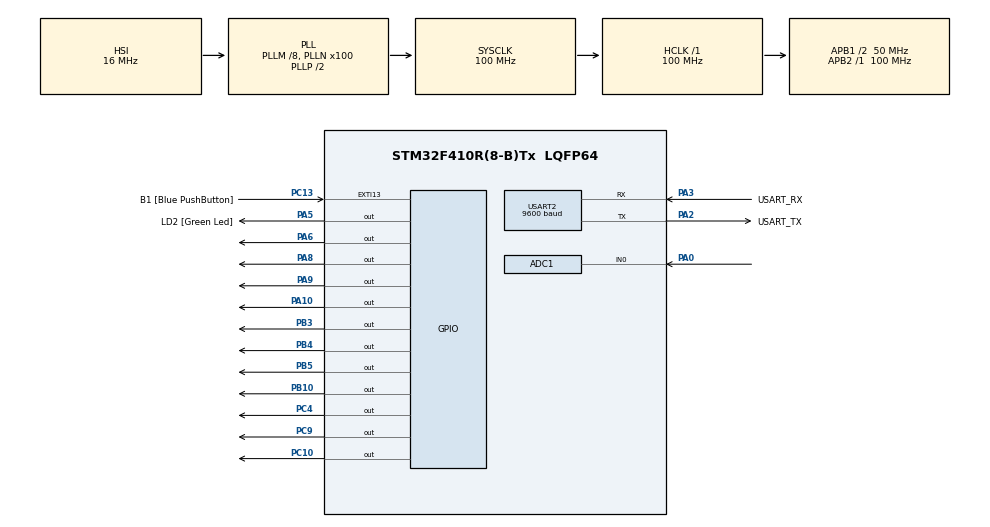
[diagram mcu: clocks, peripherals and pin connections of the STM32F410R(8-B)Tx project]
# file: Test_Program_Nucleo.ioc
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ADC1.Channel-20\#ChannelRegularConversion=ADC_CHANNEL_0
ADC1.ClockPrescaler=ADC_CLOCK_SYNC_PCLK_DIV4
ADC1.ContinuousConvMode=DISABLE
ADC1.DMAContinuousRequests=DISABLE
ADC1.DataAlign=ADC_DATAALIGN_RIGHT
ADC1.DiscontinuousConvMode=DISABLE
ADC1.EOCSelection=ADC_EOC_SINGLE_CONV
ADC1.EnableAnalogWatchDog=false
ADC1.ExternalTrigConv=ADC_SOFTWARE_START
ADC1.ExternalTrigConvEdge=ADC_EXTERNALTRIGCONVEDGE_NONE
ADC1.InjNumberOfConversion=0
ADC1.NbrOfConversion=1
ADC1.NbrOfConversionFlag=1
ADC1.Rank-20\#ChannelRegularConversion=1
ADC1.Resolution=ADC_RESOLUTION_10B
ADC1.SamplingTime-20\#ChannelRegularConversion=ADC_SAMPLETIME_3CYCLES
ADC1.ScanConvMode=DISABLE
ADC1.master=1
FREERTOS.Tasks01=defaultTask,0,128,StartDefaultTask,Default,NULL,Dynamic,NULL,NULL;Stepper1_Task,0,128,Stepper1_Task_function,Default,NULL,Dynamic,NULL,NULL;Stepper2_Task,0,128,Stepper2_Task_function,Default,NULL,Dynamic,NULL,NULL;Stepper3_Task,-3,128,Stepper3_Task_function,Default,NULL,Dynamic,NULL,NULL;Stepper4_Task,-3,128,Stepper4_Task_function,Default,NULL,Dynamic,NULL,NULL;Main_Arm_Task,0,128,Main_Arm_Task_function,Default,NULL,Dynamic,NULL,NULL
Mcu.Family=STM32F4
Mcu.Name=STM32F410R(8-B)Tx
Mcu.Package=LQFP64
NVIC.PriorityGroup=NVIC_PRIORITYGROUP_4
NVIC.TIM1_UP_IRQn=true\:0\:0\:false\:false\:true\:false\:false
NVIC.TIM6_DAC_IRQn=true\:5\:0\:false\:false\:true\:true\:true
NVIC.TimeBase=TIM1_UP_IRQn
NVIC.TimeBaseIP=TIM1
NVIC.USART2_IRQn=true\:5\:0\:false\:false\:true\:true\:true
PA0-WKUP.Signal=ADCx_IN0
PA10.Signal=GPIO_Output
PA13.GPIO_Label=TMS
PA13.Mode=Serial_Wire
PA13.Signal=SYS_JTMS-SWDIO
PA14.GPIO_Label=TCK
PA14.Mode=Serial_Wire
PA14.Signal=SYS_JTCK-SWCLK
PA2.GPIO_Label=USART_TX
PA2.Mode=Asynchronous
PA2.Signal=USART2_TX
PA3.GPIO_Label=USART_RX
PA3.Mode=Asynchronous
PA3.Signal=USART2_RX
PA5.GPIO_Label=LD2 [Green Led]
PA5.Signal=GPIO_Output
PA6.Signal=GPIO_Output
PA8.Signal=GPIO_Output
PA9.Signal=GPIO_Output
PB10.Signal=GPIO_Output
PB3.Signal=GPIO_Output
PB4.Signal=GPIO_Output
PB5.Signal=GPIO_Output
PC10.Signal=GPIO_Output
PC13-ANTI_TAMP.GPIO_Label=B1 [Blue PushButton]
PC13-ANTI_TAMP.GPIO_ModeDefaultEXTI=GPIO_MODE_IT_FALLING
PC13-ANTI_TAMP.Signal=GPXTI13
PC14-OSC32_IN.Mode=LSE-External-Oscillator
PC14-OSC32_IN.Signal=RCC_OSC32_IN
PC15-OSC32_OUT.Mode=LSE-External-Oscillator
PC15-OSC32_OUT.Signal=RCC_OSC32_OUT
PC4.Signal=GPIO_Output
PC9.Signal=GPIO_Output
PH0\ -\ OSC_IN.Mode=HSE-External-Clock-Source
PH0\ -\ OSC_IN.Signal=RCC_OSC_IN
PH1\ -\ OSC_OUT.Mode=HSE-External-Clock-Source
PH1\ -\ OSC_OUT.Signal=RCC_OSC_OUT
ProjectManager.HeapSize=0x200
ProjectManager.StackSize=0x400
ProjectManager.TargetToolchain=MDK-ARM V5
RCC.48MHZClocksFreq_Value=50000000
RCC.AHBFreq_Value=100000000
RCC.APB1CLKDivider=RCC_HCLK_DIV2
RCC.APB1Freq_Value=50000000
RCC.APB1TimFreq_Value=100000000
RCC.APB2Freq_Value=100000000
RCC.APB2TimFreq_Value=100000000
RCC.CortexFreq_Value=100000000
RCC.FLatency-AdvancedSettings=FLASH_LATENCY_3
RCC.HCLKFreq_Value=100000000
RCC.HSE_VALUE=8000000
RCC.HSI_VALUE=16000000
RCC.PLLM=8
RCC.PLLN=100
RCC.SYSCLKFreq_VALUE=100000000
RCC.SYSCLKSource=RCC_SYSCLKSOURCE_PLLCLK
RCC.VCOOutputFreq_Value=200000000
SH.ADCx_IN0.0=ADC1_IN0,IN0
TIM6.Period=2
TIM6.Prescaler=2
USART2.BaudRate=9600
USART2.Mode=MODE_TX_RX
USART2.VirtualMode=VM_ASYNC
VP_FREERTOS_VS_ENABLE.Mode=Enabled
VP_SYS_VS_tim1.Mode=TIM1
VP_TIM6_VS_ClockSourceINT.Mode=Enable_Timer
board=NUCLEO-F410RB

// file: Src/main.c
/**
  ******************************************************************************
  * @file           : main.c
  * @brief          : Main program body
  ******************************************************************************
  * This notice applies to any and all portions of this file
  * that are not between comment pairs USER CODE BEGIN and
  * USER CODE END. Other portions of this file, whether
  * inserted by the user or by software development tools
  * are owned by their respective copyright owners.
  *
  * Copyright (c) 2020 STMicroelectronics International N.V.
  * All rights reserved.
  *
  * Redistribution and use in source and binary forms, with or without
  * modification, are permitted, provided that the following conditions are met:
  *
  * 1. Redistribution of source code must retain the above copyright notice,
  *    this list of conditions and the following disclaimer.
  * 2. Redistributions in binary form must reproduce the above copyright notice,
  *    this list of conditions and the following disclaimer in the documentation
  *    and/or other materials provided with the distribution.
  * 3. Neither the name of STMicroelectronics nor the names of other
  *    contributors to this software may be used to endorse or promote products
  *    derived from this software without specific written permission.
  * 4. This software, including modifications and/or derivative works of this
  *    software, must execute solely and exclusively on microcontroller or
  *    microprocessor devices manufactured by or for STMicroelectronics.
  * 5. Redistribution and use of this software other than as permitted under
  *    this license is void and will automatically terminate your rights under
  *    this license.
  *
  * THIS SOFTWARE IS PROVIDED BY STMICROELECTRONICS AND CONTRIBUTORS "AS IS"
  * AND ANY EXPRESS, IMPLIED OR STATUTORY WARRANTIES, INCLUDING, BUT NOT
  * LIMITED TO, THE IMPLIED WARRANTIES OF MERCHANTABILITY, FITNESS FOR A
  * PARTICULAR PURPOSE AND NON-INFRINGEMENT OF THIRD PARTY INTELLECTUAL PROPERTY
  * RIGHTS ARE DISCLAIMED TO THE FULLEST EXTENT PERMITTED BY LAW. IN NO EVENT
  * SHALL STMICROELECTRONICS OR CONTRIBUTORS BE LIABLE FOR ANY DIRECT, INDIRECT,
  * INCIDENTAL, SPECIAL, EXEMPLARY, OR CONSEQUENTIAL DAMAGES (INCLUDING, BUT NOT
  * LIMITED TO, PROCUREMENT OF SUBSTITUTE GOODS OR SERVICES; LOSS OF USE, DATA,
  * OR PROFITS; OR BUSINESS INTERRUPTION) HOWEVER CAUSED AND ON ANY THEORY OF
  * LIABILITY, WHETHER IN CONTRACT, STRICT LIABILITY, OR TORT (INCLUDING
  * NEGLIGENCE OR OTHERWISE) ARISING IN ANY WAY OUT OF THE USE OF THIS SOFTWARE,
  * EVEN IF ADVISED OF THE POSSIBILITY OF SUCH DAMAGE.
  *
  ******************************************************************************
  */
#include "main.h"
#include "stm32f4xx_hal.h"
#include "cmsis_os.h"

/* USER CODE BEGIN Includes */

#include "math.h"
#include "string.h"
#include <stdlib.h>
#include <stdio.h>

#define PI 											3.141592653
#define STEP1_RESOLUTION  		  0.060944641
#define STEP2_RESOLUTION  		  0.055333713
#define STEP3_RESOLUTION    		0.055301333
#define X_INIT       					  132.861984
#define Y_INIT        				  0.00
#define Z_INIT        				  -25.3336658
#define SENS_SWITCH_WAIT		  	100
#define l2  		  							162.00
#define l3   		 								162.00
#define l4		  							  122.5

typedef struct{
	short x;
	short y;
	short z;
	}Color_Area;

/* USER CODE END Includes */

ADC_HandleTypeDef hadc1;

TIM_HandleTypeDef htim6;

UART_HandleTypeDef huart2;

osThreadId defaultTaskHandle;
osThreadId Stepper1_TaskHandle;
osThreadId Stepper2_TaskHandle;
osThreadId Stepper3_TaskHandle;
osThreadId Stepper4_TaskHandle;
osThreadId Main_Arm_TaskHandle;

/* USER CODE BEGIN PV */
/* Private variables ---------------------------------------------------------*/

const char SLEEPING='a';
const char TRACKING ='b';
const char SORTING='c';

float O1=0;
float O2=-35.2;
float O3=60.1;
float O4=-90;

float O1_t=0;
float O2_t=90;
float O3_t=-35;
float O4_t=-90;

char state = SLEEPING;
unsigned char Step1_done,Step2_done,Step3_done = 0;
short sens_1=1;
short sens_2=1;
short sens_3=-1;
short  x_target=0;
short  y_target=0;
short  Delayed=0;

char	PC_Data[7];
char	x_tab[3]={0};
char	y_tab[3]={0};

char color ='g';
Color_Area  Green_Area={150,195,-130};
Color_Area  Red_Area={250,195,-130};
Color_Area  Blue_Area={150,-195,-130};
Color_Area  Yellow_Area={250,-195,-130};

unsigned char Nb_Green_Stored=0;
unsigned char Nb_Red_Stored=0;
unsigned char Nb_Blue_Stored=0;
unsigned char Nb_Yellow_Stored=0;

/* USER CODE END PV */

void SystemClock_Config(void);
static void MX_GPIO_Init(void);
static void MX_USART2_UART_Init(void);
static void MX_TIM6_Init(void);
static void MX_ADC1_Init(void);
void Stepper1_Task_function(void const * argument);
void Stepper2_Task_function(void const * argument);
void Stepper3_Task_function(void const * argument);
void Main_Arm_Task_function(void const * argument);

/* USER CODE BEGIN PFP */
/* Private function prototypes -----------------------------------------------*/

int Check_Object(void);
unsigned char Steppers_Ready(void);
void Set_Joints_Angles(float xt,float yt,float zt);

/* USER CODE END PFP */

int main(void)
{

  /* MCU Configuration----------------------------------------------------------*/

  /* Reset of all peripherals, Initializes the Flash interface and the Systick. */
  HAL_Init();

  /* Configure the system clock */
  SystemClock_Config();

  /* Initialize all configured peripherals */
  MX_GPIO_Init();
  MX_USART2_UART_Init();
  MX_TIM6_Init();
  MX_ADC1_Init();
  /* USER CODE BEGIN 2 */
 	__HAL_UART_ENABLE_IT(&huart2,UART_IT_RXNE);
  /* USER CODE END 2 */

  /* Create the thread(s) */

  /* definition and creation of Stepper1_Task */
  osThreadDef(Stepper1_Task, Stepper1_Task_function, osPriorityNormal, 0, 128);
  Stepper1_TaskHandle = osThreadCreate(osThread(Stepper1_Task), NULL);

  /* definition and creation of Stepper2_Task */
  osThreadDef(Stepper2_Task, Stepper2_Task_function,osPriorityNormal, 0, 128);
  Stepper2_TaskHandle = osThreadCreate(osThread(Stepper2_Task), NULL);

  /* definition and creation of Stepper3_Task */
  osThreadDef(Stepper3_Task, Stepper3_Task_function, osPriorityNormal, 0, 128);
  Stepper3_TaskHandle = osThreadCreate(osThread(Stepper3_Task), NULL);

  /* definition and creation of Main_Arm_Task */
  osThreadDef(Main_Arm_Task, Main_Arm_Task_function, osPriorityNormal, 0, 128);
  Main_Arm_TaskHandle = osThreadCreate(osThread(Main_Arm_Task), NULL);

  /* Start scheduler */
 osKernelStart();

  /* We should never get here as control is now taken by the scheduler */

  /* Infinite loop */
  while (1)
  {

  }

}

void SystemClock_Config(void)
{

  RCC_OscInitTypeDef RCC_OscInitStruct;
  RCC_ClkInitTypeDef RCC_ClkInitStruct;

    /**Configure the main internal regulator output voltage
    */
  __HAL_RCC_PWR_CLK_ENABLE();

  __HAL_PWR_VOLTAGESCALING_CONFIG(PWR_REGULATOR_VOLTAGE_SCALE1);

    /**Initializes the CPU, AHB and APB busses clocks
    */
  RCC_OscInitStruct.OscillatorType = RCC_OSCILLATORTYPE_HSI;
  RCC_OscInitStruct.HSIState = RCC_HSI_ON;
  RCC_OscInitStruct.HSICalibrationValue = 16;
  RCC_OscInitStruct.PLL.PLLState = RCC_PLL_ON;
  RCC_OscInitStruct.PLL.PLLSource = RCC_PLLSOURCE_HSI;
  RCC_OscInitStruct.PLL.PLLM = 8;
  RCC_OscInitStruct.PLL.PLLN = 100;
  RCC_OscInitStruct.PLL.PLLP = RCC_PLLP_DIV2;
  RCC_OscInitStruct.PLL.PLLQ = 4;
  RCC_OscInitStruct.PLL.PLLR = 2;
  if (HAL_RCC_OscConfig(&RCC_OscInitStruct) != HAL_OK)
  {
    _Error_Handler(__FILE__, __LINE__);
  }

    /**Initializes the CPU, AHB and APB busses clocks
    */
  RCC_ClkInitStruct.ClockType = RCC_CLOCKTYPE_HCLK|RCC_CLOCKTYPE_SYSCLK
                              |RCC_CLOCKTYPE_PCLK1|RCC_CLOCKTYPE_PCLK2;
  RCC_ClkInitStruct.SYSCLKSource = RCC_SYSCLKSOURCE_PLLCLK;
  RCC_ClkInitStruct.AHBCLKDivider = RCC_SYSCLK_DIV1;
  RCC_ClkInitStruct.APB1CLKDivider = RCC_HCLK_DIV2;
  RCC_ClkInitStruct.APB2CLKDivider = RCC_HCLK_DIV1;

  if (HAL_RCC_ClockConfig(&RCC_ClkInitStruct, FLASH_LATENCY_3) != HAL_OK)
  {
    _Error_Handler(__FILE__, __LINE__);
  }

    /**Configure the Systick interrupt time
    */
  HAL_SYSTICK_Config(HAL_RCC_GetHCLKFreq()/1000);

    /**Configure the Systick
    */
  HAL_SYSTICK_CLKSourceConfig(SYSTICK_CLKSOURCE_HCLK);

  /* SysTick_IRQn interrupt configuration */
  HAL_NVIC_SetPriority(SysTick_IRQn, 15, 0);
}

/* ADC1 init function */
static void MX_ADC1_Init(void)
{

  ADC_ChannelConfTypeDef sConfig;

    /**Configure the global features of the ADC (Clock, Resolution, Data Alignment and number of conversion)
    */
  hadc1.Instance = ADC1;
  hadc1.Init.ClockPrescaler = ADC_CLOCK_SYNC_PCLK_DIV4;
  hadc1.Init.Resolution = ADC_RESOLUTION_10B;
  hadc1.Init.ScanConvMode = DISABLE;
  hadc1.Init.ContinuousConvMode = DISABLE;
  hadc1.Init.DiscontinuousConvMode = DISABLE;
  hadc1.Init.ExternalTrigConvEdge = ADC_EXTERNALTRIGCONVEDGE_NONE;
  hadc1.Init.ExternalTrigConv = ADC_SOFTWARE_START;
  hadc1.Init.DataAlign = ADC_DATAALIGN_RIGHT;
  hadc1.Init.NbrOfConversion = 1;
  hadc1.Init.DMAContinuousRequests = DISABLE;
  hadc1.Init.EOCSelection = ADC_EOC_SINGLE_CONV;
  if (HAL_ADC_Init(&hadc1) != HAL_OK)
  {
    _Error_Handler(__FILE__, __LINE__);
  }

    /**Configure for the selected ADC regular channel its corresponding rank in the sequencer and its sample time.
    */
  sConfig.Channel = ADC_CHANNEL_0;
  sConfig.Rank = 1;
  sConfig.SamplingTime = ADC_SAMPLETIME_3CYCLES;
  if (HAL_ADC_ConfigChannel(&hadc1, &sConfig) != HAL_OK)
  {
    _Error_Handler(__FILE__, __LINE__);
  }

}

/* TIM6 init function */
static void MX_TIM6_Init(void)
{

  TIM_MasterConfigTypeDef sMasterConfig;

  htim6.Instance = TIM6;
  htim6.Init.Prescaler = 2;
  htim6.Init.CounterMode = TIM_COUNTERMODE_UP;
  htim6.Init.Period = 2;
  if (HAL_TIM_Base_Init(&htim6) != HAL_OK)
  {
    _Error_Handler(__FILE__, __LINE__);
  }

  sMasterConfig.MasterOutputTrigger = TIM_TRGO_RESET;
  sMasterConfig.MasterSlaveMode = TIM_MASTERSLAVEMODE_DISABLE;
  if (HAL_TIMEx_MasterConfigSynchronization(&htim6, &sMasterConfig) != HAL_OK)
  {
    _Error_Handler(__FILE__, __LINE__);
  }

}

/* USART2 init function */
static void MX_USART2_UART_Init(void)
{

  huart2.Instance = USART2;
  huart2.Init.BaudRate = 9600;
  huart2.Init.WordLength = UART_WORDLENGTH_8B;
  huart2.Init.StopBits = UART_STOPBITS_1;
  huart2.Init.Parity = UART_PARITY_NONE;
  huart2.Init.Mode = UART_MODE_TX_RX;
  huart2.Init.HwFlowCtl = UART_HWCONTROL_NONE;
  huart2.Init.OverSampling = UART_OVERSAMPLING_16;
  if (HAL_UART_Init(&huart2) != HAL_OK)
  {
    _Error_Handler(__FILE__, __LINE__);
  }

}

/** Configure pins as
        * Analog
        * Input
        * Output
        * EVENT_OUT
        * EXTI
*/
static void MX_GPIO_Init(void)
{

  GPIO_InitTypeDef GPIO_InitStruct;

  /* GPIO Ports Clock Enable */
  __HAL_RCC_GPIOC_CLK_ENABLE();
  __HAL_RCC_GPIOH_CLK_ENABLE();
  __HAL_RCC_GPIOA_CLK_ENABLE();
  __HAL_RCC_GPIOB_CLK_ENABLE();

  /*Configure GPIO pin Output Level */
  HAL_GPIO_WritePin(GPIOA, LD2_Pin|GPIO_PIN_6|GPIO_PIN_8|GPIO_PIN_9
                          |GPIO_PIN_10, GPIO_PIN_RESET);

  /*Configure GPIO pin Output Level */
  HAL_GPIO_WritePin(GPIOC, GPIO_PIN_4|GPIO_PIN_9|GPIO_PIN_10, GPIO_PIN_RESET);

  /*Configure GPIO pin Output Level */
  HAL_GPIO_WritePin(GPIOB, GPIO_PIN_10|GPIO_PIN_3|GPIO_PIN_4|GPIO_PIN_5, GPIO_PIN_RESET);

  /*Configure GPIO pin : B1_Pin */
  GPIO_InitStruct.Pin = B1_Pin;
  GPIO_InitStruct.Mode = GPIO_MODE_IT_FALLING;
  GPIO_InitStruct.Pull = GPIO_NOPULL;
  HAL_GPIO_Init(B1_GPIO_Port, &GPIO_InitStruct);

  /*Configure GPIO pins : LD2_Pin PA8 PA9 */
  GPIO_InitStruct.Pin = LD2_Pin|GPIO_PIN_8|GPIO_PIN_9;
  GPIO_InitStruct.Mode = GPIO_MODE_OUTPUT_PP;
  GPIO_InitStruct.Pull = GPIO_NOPULL;
  GPIO_InitStruct.Speed = GPIO_SPEED_FREQ_LOW;
  HAL_GPIO_Init(GPIOA, &GPIO_InitStruct);

  /*Configure GPIO pins : PA6 PA10 */
  GPIO_InitStruct.Pin = GPIO_PIN_6|GPIO_PIN_10;
  GPIO_InitStruct.Mode = GPIO_MODE_OUTPUT_PP;
  GPIO_InitStruct.Pull = GPIO_PULLUP;
  GPIO_InitStruct.Speed = GPIO_SPEED_FREQ_LOW;
  HAL_GPIO_Init(GPIOA, &GPIO_InitStruct);

  /*Configure GPIO pins : PC4 PC9 PC10 */
  GPIO_InitStruct.Pin = GPIO_PIN_4|GPIO_PIN_9|GPIO_PIN_10;
  GPIO_InitStruct.Mode = GPIO_MODE_OUTPUT_PP;
  GPIO_InitStruct.Pull = GPIO_NOPULL;
  GPIO_InitStruct.Speed = GPIO_SPEED_FREQ_LOW;
  HAL_GPIO_Init(GPIOC, &GPIO_InitStruct);

  /*Configure GPIO pins : PB10 PB4 */
  GPIO_InitStruct.Pin = GPIO_PIN_10|GPIO_PIN_4;
  GPIO_InitStruct.Mode = GPIO_MODE_OUTPUT_PP;
  GPIO_InitStruct.Pull = GPIO_NOPULL;
  GPIO_InitStruct.Speed = GPIO_SPEED_FREQ_LOW;
  HAL_GPIO_Init(GPIOB, &GPIO_InitStruct);

  /*Configure GPIO pins : PB3 PB5 */
  GPIO_InitStruct.Pin = GPIO_PIN_3|GPIO_PIN_5;
  GPIO_InitStruct.Mode = GPIO_MODE_OUTPUT_PP;
  GPIO_InitStruct.Pull = GPIO_PULLUP;
  GPIO_InitStruct.Speed = GPIO_SPEED_FREQ_LOW;
  HAL_GPIO_Init(GPIOB, &GPIO_InitStruct);

}

/* USER CODE BEGIN 4 */

int sign(float x){
	return (x > 0) - (x < 0);
}

float rad_to_deg(double rad){
				return(rad*360/(2*PI));
}

int Check_Object(){
	int  adc=0;
  for(int i=0;i<100;i++){
    	HAL_ADC_Start(&hadc1);
		  adc+=HAL_ADC_GetValue(&hadc1);
		  }
		 adc/=100;
		  return (adc<100);
}

void  Set_Joints_Angles(float xt,float yt , float zt){

	float a=sqrt(pow(xt,2)+pow(yt,2));
	float sphere_radius=sqrt(a*a+pow((zt+l4),2));
	float alpha=(a*a+pow((zt+l4),2)+pow(l3,2)-pow(l2,2))/(2*l3);
	float beta=atan((zt+l4)/a);

	if(sphere_radius<=324){

		if(xt==0) O1_t=PI/2*sign(yt); else  O1_t=atan(yt/xt);
		O2_t=acos(alpha/sphere_radius)+beta;
		O3_t=acos((a-l3*cos(O2_t))/l2)*sign(zt);

		O1_t=rad_to_deg(O1_t);
		O2_t=rad_to_deg(O2_t);
		O3_t=rad_to_deg(O3_t);
		O4_t=-90.00;

		Step1_done=0; Step2_done=0; Step3_done=0;
	}
}

unsigned char Steppers_Ready(){
	return(Step1_done && Step2_done && Step3_done);
}

/* USER CODE END 4 */

/* Stepper1_Task_function function */
void Stepper1_Task_function(void const * argument)
{
  /* USER CODE BEGIN Stepper1_Task_function */
  /* Infinite loop */
  for(;;)
  {
		if(fabs(O1_t-O1)>(STEP1_RESOLUTION+0.01)){
				if((O1<O1_t)&&(sens_1==-1)){osDelay(SENS_SWITCH_WAIT); sens_1= 1; }
				if((O1>O1_t)&&(sens_1==1)){osDelay(SENS_SWITCH_WAIT);  sens_1= -1;}

				HAL_GPIO_WritePin(GPIOB,GPIO_PIN_4,sens_1-1);

				HAL_GPIO_WritePin(GPIOA,GPIO_PIN_10,1);
				osDelay(1);
				HAL_GPIO_WritePin(GPIOA,GPIO_PIN_10,0);
				osDelay(1);

				O1+=(STEP1_RESOLUTION*sens_1);
     }
		else{
			Step1_done=1;
		  osDelay(1);
		}
	}
  /* USER CODE END Stepper1_Task_function */
}

/* Stepper2_Task_function function */
void Stepper2_Task_function(void const * argument)
{
  /* USER CODE BEGIN Stepper2_Task_function */
  /* Infinite loop */
  for(;;)
  {
    	if(fabs(O2_t-O2)>(STEP2_RESOLUTION+0.01)){
					if((O2>O2_t)&&(sens_2==1)){	 osDelay(SENS_SWITCH_WAIT); sens_2= -1;}
					if((O2<O2_t)&&(sens_2==-1)){ osDelay(SENS_SWITCH_WAIT);  sens_2= 1;}

					HAL_GPIO_WritePin(GPIOA,GPIO_PIN_8,sens_2-1);

					HAL_GPIO_WritePin(GPIOB,GPIO_PIN_5,1);
					osDelay(1);
					HAL_GPIO_WritePin(GPIOB,GPIO_PIN_5,0);
					osDelay(1);

					O2+=(STEP2_RESOLUTION*sens_2);
     }
		else{
			Step2_done=1;
			osDelay(1);
		 }
  }
  /* USER CODE END Stepper2_Task_function */
}

/* Stepper3_Task_function function */
void Stepper3_Task_function(void const * argument)
{
  /* USER CODE BEGIN Stepper3_Task_function */
  /* Infinite loop */
  for(;;)
  {
    	if(fabs(O3_t-O3)>(STEP3_RESOLUTION+0.01)){
					if((O3<O3_t)&&(sens_3==-1)){osDelay(SENS_SWITCH_WAIT); sens_3= 1;}
					if((O3>O3_t)&&(sens_3==1)){osDelay(SENS_SWITCH_WAIT);  sens_3=-1;}

					HAL_GPIO_WritePin(GPIOA,GPIO_PIN_5,sens_3+1);

					HAL_GPIO_WritePin(GPIOA,GPIO_PIN_6,1);
					osDelay(1);
					HAL_GPIO_WritePin(GPIOA,GPIO_PIN_6,0);
					osDelay(1);

					O3+=(STEP3_RESOLUTION*sens_3);
     }
		else{
			Step3_done=1;
	    osDelay(1);
		}
  }
  /* USER CODE END Stepper3_Task_function */
}

/* Main_Arm_Task_function function */
void Main_Arm_Task_function(void const * argument)
{
  /* USER CODE BEGIN Main_Arm_Task_function */

  /* Infinite loop */
  for(;;)
  {
	   if(Steppers_Ready() && state==TRACKING ){
			 if(Check_Object()){
					state=SORTING;
			  	HAL_GPIO_WritePin(GPIOC,GPIO_PIN_4,1);     // pump ON
					Set_Joints_Angles(x_target,y_target,-178);
					while(!Steppers_Ready());
					Set_Joints_Angles(x_target,y_target,-116);
					while(!Steppers_Ready());
					switch (color){
						case 'g':Set_Joints_Angles(Green_Area.x,Green_Area.y,Green_Area.z);		 break;
						case 'r':Set_Joints_Angles(Red_Area.x,Red_Area.y,Red_Area.z);					 break;
						case 'b':Set_Joints_Angles(Blue_Area.x,Blue_Area.y,Blue_Area.z);			 break;
						case 'y':Set_Joints_Angles(Yellow_Area.x,Yellow_Area.y,Yellow_Area.z); break;
						default : break;
				 }
				}
				else{
					state=SLEEPING;
					Set_Joints_Angles(X_INIT,Y_INIT,Z_INIT);
				}
			}

			if(Steppers_Ready() && state==SORTING )
			{
					switch (color){
					 case 'g':Set_Joints_Angles(Green_Area.x,Green_Area.y,Green_Area.z);  Green_Area.z+=25;	Nb_Green_Stored++;	break;
					 case 'r':Set_Joints_Angles(Red_Area.x,Red_Area.y,Red_Area.z);				Red_Area.z+=25;		Nb_Red_Stored++;	  break;
					 case 'b':Set_Joints_Angles(Blue_Area.x,Blue_Area.y,Blue_Area.z);			Blue_Area.z+=25; 	Nb_Blue_Stored++;		break;
					 case 'y':Set_Joints_Angles(Yellow_Area.x,Yellow_Area.y,Yellow_Area.z);Yellow_Area.z+=25;Nb_Yellow_Stored++;break;
           default : break;
				 }
					HAL_GPIO_WritePin(GPIOC,GPIO_PIN_4,0);
					while(Check_Object());
					Set_Joints_Angles(X_INIT,Y_INIT,Z_INIT);
					state=SLEEPING;
			}

		osDelay(1);
  }
  /* USER CODE END Main_Arm_Task_function */
}

void HAL_TIM_PeriodElapsedCallback(TIM_HandleTypeDef *htim)
{
  if (htim->Instance == TIM1) {
    HAL_IncTick();
  }
}

void _Error_Handler(char *file, int line)
{
  while(1)
  {
  }
}

/************************ (C) COPYRIGHT STMicroelectronics *****END OF FILE****/
